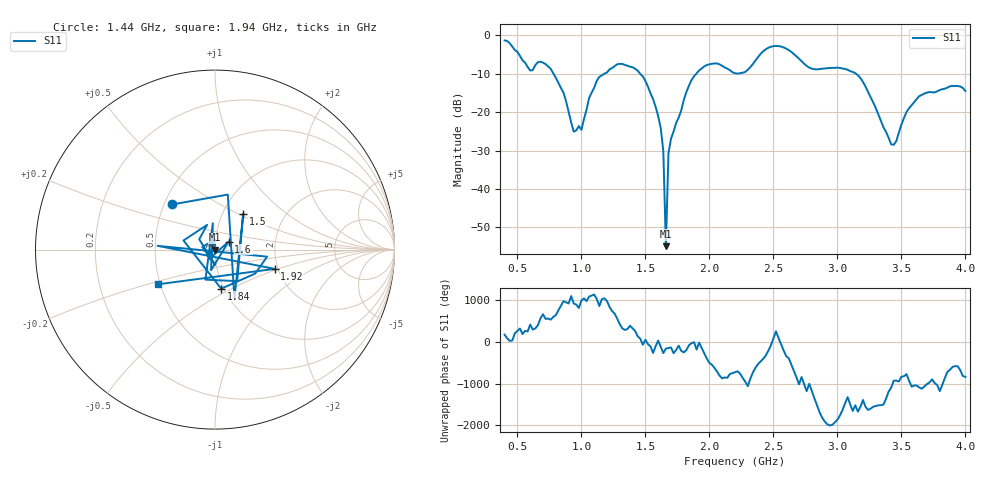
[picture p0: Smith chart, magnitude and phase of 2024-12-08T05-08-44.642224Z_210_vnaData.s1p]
!Created with skrf (http://scikit-rf.org).
# Hz S RI R 50.0
!freq ReS11 ImS11
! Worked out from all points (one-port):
!   181 points, 400 MHz to 4 GHz, reference 50 ohm
!   lowest |S11| = -54.9 dB at 1.66 GHz (marker M1), VSWR 1.00, Z = 49.8 - j0.0618 ohm
!   |S11| at or under -10 dB: 782.1 MHz to 1.179 GHz (396.7 MHz wide, 40.5 % of centre); 1.459 GHz to 1.897 GHz (437.9 MHz wide, 26.1 % of centre); 3.146 GHz to end of sweep
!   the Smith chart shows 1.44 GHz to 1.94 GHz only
!   S11 on the Smith chart (normalised r, x): 1.44 GHz: 0.55, +0.31; 1.5 GHz: 1.25, +0.53; 1.6 GHz: 1.16, +0.11; 1.84 GHz: 0.97, -0.44; 1.92 GHz: 1.92, -0.47; 1.94 GHz: 0.49, -0.22
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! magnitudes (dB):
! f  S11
! 400 MHz  -1.3
! 600 MHz  -9.2
! 720 MHz  -7.5
! 860 MHz  -14.9
! 940 MHz  -25.1
! 1 GHz  -24.6
! 1.12 GHz  -11.8
! 1.3 GHz  -7.4
! 1.44 GHz  -9.2
! 1.5 GHz  -11.9
! 1.6 GHz  -21.1
! 1.64 GHz  -30.2
! 1.66 GHz  -54.9
! 1.68 GHz  -30.8
! 1.76 GHz  -21.4
! 1.84 GHz  -13.1
! 1.92 GHz  -9.1
! 1.94 GHz  -8.6
! 2.2 GHz  -9.9
! 2.48 GHz  -3.0
! 2.66 GHz  -4.9
! 2.8 GHz  -8.7
! 3.1 GHz  -9.3
! 3.2 GHz  -12.2
! 3.42 GHz  -28.4
! 3.56 GHz  -19.0
! 3.7 GHz  -14.9
! 4 GHz  -14.5
